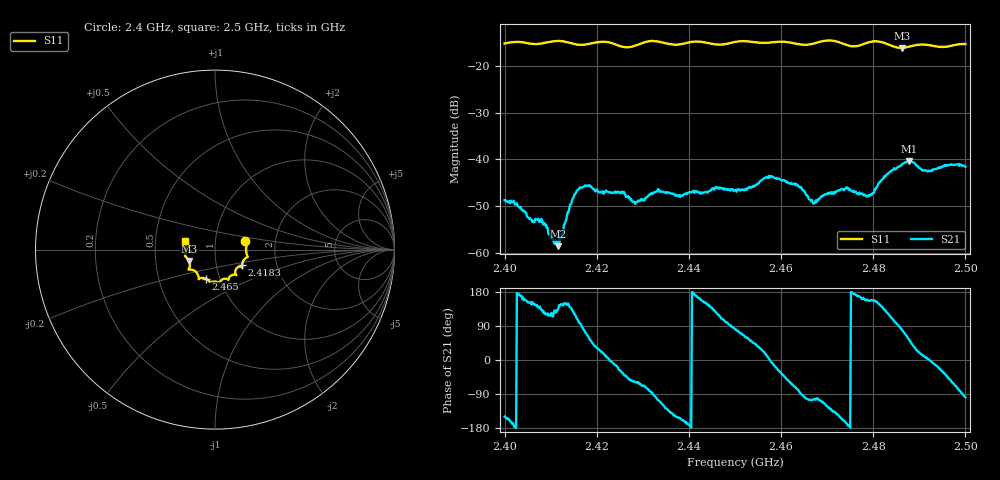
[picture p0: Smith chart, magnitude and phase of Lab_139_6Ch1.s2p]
# Hz S RI R 50
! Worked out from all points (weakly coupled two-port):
!   601 points, 2.4 GHz to 2.5 GHz, reference 50 ohm
!   highest |S21| = -40.30 dB at 2.4878 GHz (marker M1); lowest = -58.6 dB at 2.4117 GHz (marker M2)
!   lowest |S11| = -16.1 dB at 2.4862 GHz (marker M3), VSWR 1.37, Z = 37.2 - j4.84 ohm
!   |S11| at or under -10 dB: start of sweep to end of sweep
!   S12 and S22 are empty: the file has one direction only
!   S11 on the Smith chart (normalised r, x): 2.4 GHz: 1.40, +0.14; 2.4183 GHz: 1.33, -0.24; 2.465 GHz: 0.86, -0.28; 2.5 GHz: 0.71, +0.07
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2.4e9  0.1688 0.0469  -0.00315 -0.00185  0 0  0 0
2.408167e9  0.1748 -0.0175  -0.00147 0.00166  0 0  0 0
2.410333e9  0.1804 -0.0356  -0.000696 0.00132  0 0  0 0
2.411667e9  0.1824 -0.0401  -0.000839 0.000823  0 0  0 0
2.414667e9  0.1677 -0.0496  -0.00243 0.0028  0 0  0 0
2.416667e9  0.1548 -0.0683  -3.92e-05 0.00497  0 0  0 0
2.418333e9  0.1502 -0.0871  0.00274 0.00438  0 0  0 0
2.4255e9  0.1296 -0.0971  0.00373 -0.0025  0 0  0 0
2.428167e9  0.1133 -0.1201  0.00195 -0.00294  0 0  0 0
2.433333e9  0.1176 -0.141  -0.0013 -0.00463  0 0  0 0
2.438167e9  0.0819 -0.151  -0.00361 -0.00169  0 0  0 0
2.45e9  0.0264 -0.1803  0.00069 0.00459  0 0  0 0
2.457833e9  -0.0161 -0.1791  0.00647 -0.000591  0 0  0 0
2.465e9  -0.0523 -0.1614  -0.000607 -0.00458  0 0  0 0
2.466667e9  -0.0712 -0.1576  -0.00102 -0.00353  0 0  0 0
2.474333e9  -0.0963 -0.1378  -0.00492 -0.000928  0 0  0 0
2.479167e9  -0.1432 -0.1111  -0.00375 0.00164  0 0  0 0
2.483333e9  -0.1411 -0.0964  -0.00364 0.00619  0 0  0 0
2.486167e9  -0.1434 -0.0634  0.00138 0.00863  0 0  0 0
2.487833e9  -0.155 -0.0481  0.0059 0.00765  0 0  0 0
2.491833e9  -0.1665 -0.0297  0.00744 0.000275  0 0  0 0
2.5e9  -0.1663 0.0469  -0.00123 -0.00825  0 0  0 0
